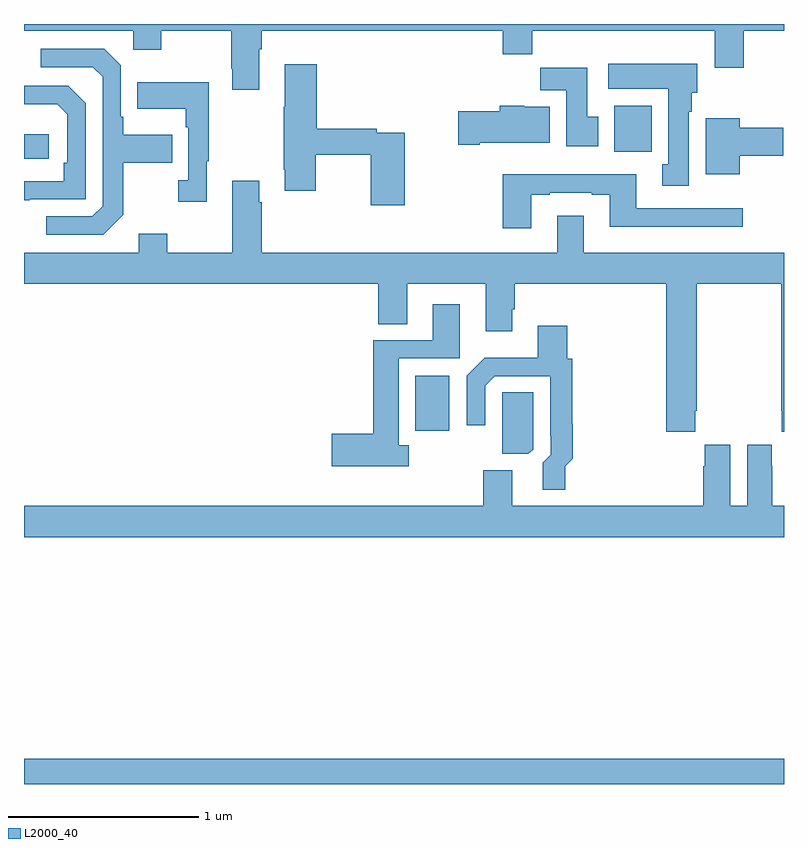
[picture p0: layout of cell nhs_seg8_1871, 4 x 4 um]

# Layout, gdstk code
import gdstk
lib = gdstk.Library(unit=1e-6, precision=1e-09)
def R(c, l, rs):  # rectangles x0, y0, x1, y1
    for r in rs: c.add(gdstk.rectangle(r[:2], r[2:], *l))
def P(c, l, *ps):  # polygons
    for p in ps: c.add(gdstk.Polygon(p, *l))
L2000_40 = (2000, 40)

nhs_seg8_1871 = lib.new_cell('nhs_seg8_1871')
R(nhs_seg8_1871, L2000_40, [(231,1081.9,235,1082.032), (233.06,1083.758,233.239,1084.048), (231,1085.19,231.13,1085.32), (234.107,1085.228,234.304,1085.47)])
P(nhs_seg8_1871, L2000_40, [(232.237,1085.768),(232.25,1085.768),(232.25,1085.864),(233.519,1085.864),(233.519,1085.74),(233.675,1085.74),(233.675,1085.864),(234.635,1085.864),(234.635,1085.67),(234.788,1085.67),(234.788,1085.864),(235,1085.864),(235,1085.9),(231,1085.9),(231,1085.864),(231.576,1085.864),(231.576,1085.765),(231.723,1085.765),(231.723,1085.864),(232.09,1085.864),(232.09,1085.665),(232.097,1085.665),(232.097,1085.553),(232.237,1085.553)],
  [(231.523,1084.897),(231.523,1085.17),(231.779,1085.17),(231.779,1085.317),(231.523,1085.317),(231.523,1085.413),(231.51,1085.413),(231.51,1085.682),(231.423,1085.769),(231.087,1085.769),(231.087,1085.673),(231.363,1085.673),(231.414,1085.622),(231.414,1084.941),(231.36,1084.887),(231.117,1084.887),(231.117,1084.791),(231.417,1084.791)],
  [(234.499,1085.438),(234.514,1085.438),(234.514,1085.538),(234.544,1085.538),(234.544,1085.692),(234.075,1085.692),(234.075,1085.558),(234.392,1085.558),(234.392,1085.162),(234.359,1085.162),(234.359,1085.049),(234.499,1085.049)],
  [(233.003,1085.328),(232.856,1085.328),(232.856,1085.348),(232.541,1085.348),(232.541,1085.689),(232.373,1085.689),(232.373,1085.465),(232.366,1085.465),(232.366,1085.134),(232.373,1085.134),(232.373,1085.022),(232.536,1085.022),(232.536,1085.212),(232.825,1085.212),(232.825,1084.947),(233.003,1084.947)],
  [(234.022,1085.412),(233.965,1085.412),(233.965,1085.671),(233.716,1085.671),(233.716,1085.552),(233.855,1085.552),(233.855,1085.256),(234.022,1085.256)],
  [(231.961,1085.177),(231.973,1085.177),(231.973,1085.593),(231.595,1085.593),(231.595,1085.453),(231.852,1085.453),(231.852,1085.357),(231.864,1085.357),(231.864,1085.078),(231.813,1085.078),(231.813,1084.965),(231.961,1084.965)],
  [(231.029,1084.977),(231.324,1084.977),(231.324,1085.484),(231.234,1085.574),(231,1085.574),(231,1085.477),(231.175,1085.477),(231.228,1085.424),(231.228,1085.17),(231.208,1085.17),(231.208,1085.073),(231,1085.073),(231,1084.972),(231.029,1084.972)],
  [(233.398,1085.276),(233.767,1085.276),(233.767,1085.464),(233.634,1085.464),(233.634,1085.47),(233.504,1085.47),(233.504,1085.442),(233.286,1085.442),(233.286,1085.264),(233.398,1085.264)],
  [(234.766,1085.207),(234.997,1085.207),(234.997,1085.354),(234.766,1085.354),(234.766,1085.404),(234.587,1085.404),(234.587,1085.108),(234.766,1085.108)],
  [(233.671,1085.001),(233.767,1085.001),(233.767,1085.013),(233.987,1085.013),(233.987,1085.001),(234.083,1085.001),(234.083,1084.832),(234.784,1084.832),(234.784,1084.929),(234.223,1084.929),(234.223,1085.11),(233.519,1085.11),(233.519,1084.824),(233.671,1084.824)],
  [(234.533,1083.865),(234.54,1083.865),(234.54,1084.532),(234.985,1084.532),(234.985,1083.865),(234.987,1083.865),(234.987,1083.753),(235,1083.753),(235,1084.696),(233.947,1084.696),(233.947,1084.891),(233.807,1084.891),(233.807,1084.696),(232.25,1084.696),(232.25,1084.961),(232.237,1084.961),(232.237,1085.074),(232.097,1085.074),(232.097,1084.696),(231.753,1084.696),(231.753,1084.795),(231.605,1084.795),(231.605,1084.696),(231,1084.696),(231,1084.532),(232.865,1084.532),(232.865,1084.321),(233.017,1084.321),(233.017,1084.532),(233.429,1084.532),(233.429,1084.284),(233.569,1084.284),(233.569,1084.399),(233.582,1084.399),(233.582,1084.532),(234.38,1084.532),(234.38,1083.753),(234.533,1083.753)],
  [(233.026,1083.682),(232.972,1083.682),(232.972,1084.14),(233.293,1084.14),(233.293,1084.426),(233.15,1084.426),(233.15,1084.236),(232.838,1084.236),(232.838,1083.743),(232.62,1083.743),(232.62,1083.573),(233.026,1083.573)],
  [(233.849,1083.573),(233.888,1083.612),(233.888,1083.794),(233.885,1083.794),(233.885,1084.137),(233.858,1084.137),(233.858,1084.312),(233.705,1084.312),(233.705,1084.144),(233.425,1084.144),(233.331,1084.05),(233.331,1083.789),(233.427,1083.789),(233.427,1083.996),(233.478,1084.047),(233.769,1084.047),(233.769,1083.733),(233.772,1083.733),(233.772,1083.633),(233.729,1083.59),(233.729,1083.45),(233.849,1083.45)],
  [(233.679,1083.66),(233.679,1083.962),(233.517,1083.962),(233.517,1083.851),(233.516,1083.851),(233.516,1083.637),(233.655,1083.637)],
  [(235,1083.364),(234.937,1083.364),(234.937,1083.572),(234.936,1083.572),(234.936,1083.685),(234.806,1083.685),(234.806,1083.364),(234.718,1083.364),(234.718,1083.685),(234.584,1083.685),(234.584,1083.572),(234.575,1083.572),(234.575,1083.364),(233.569,1083.364),(233.569,1083.552),(233.417,1083.552),(233.417,1083.364),(231,1083.364),(231,1083.2),(235,1083.2)])

lib.write_gds('nhs_seg8_1871.gds')
